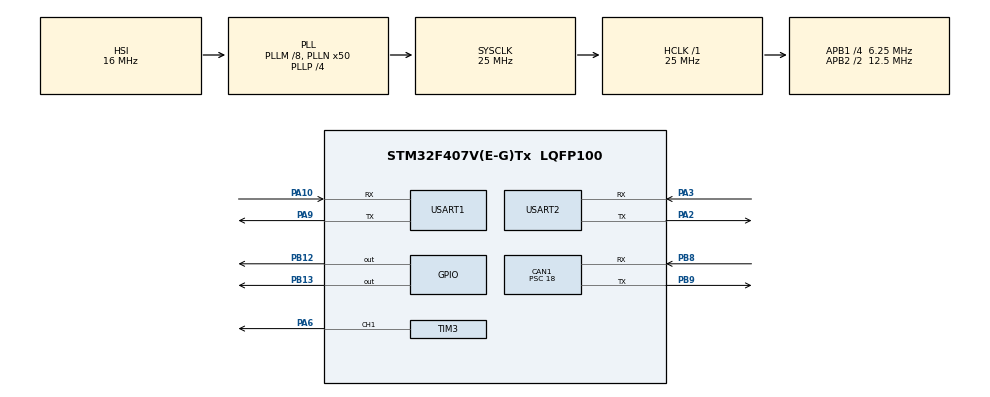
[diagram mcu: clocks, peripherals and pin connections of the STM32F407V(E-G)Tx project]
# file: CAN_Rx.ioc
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CAN1.ABOM=ENABLE
CAN1.BS1=CAN_BS1_13TQ
CAN1.BS2=CAN_BS2_2TQ
CAN1.CalculateBaudRate=21701
CAN1.CalculateTimeBit=46080
CAN1.CalculateTimeQuantum=2880.0
CAN1.NART=ENABLE
CAN1.Prescaler=18
Mcu.Family=STM32F4
Mcu.Name=STM32F407V(E-G)Tx
Mcu.Package=LQFP100
NVIC.CAN1_RX0_IRQn=true\:0\:0\:false\:false\:true\:true\:true\:true
NVIC.PriorityGroup=NVIC_PRIORITYGROUP_0
PA10.Mode=Asynchronous
PA10.Signal=USART1_RX
PA2.Mode=Asynchronous
PA2.Signal=USART2_TX
PA3.Mode=Asynchronous
PA3.Signal=USART2_RX
PA6.Signal=S_TIM3_CH1
PA9.Mode=Asynchronous
PA9.Signal=USART1_TX
PB12.Signal=GPIO_Output
PB13.Signal=GPIO_Output
PB8.Mode=CAN_Activate
PB8.Signal=CAN1_RX
PB9.Mode=CAN_Activate
PB9.Signal=CAN1_TX
ProjectManager.HeapSize=0x200
ProjectManager.StackSize=0x400
ProjectManager.TargetToolchain=STM32CubeIDE
RCC.48MHZClocksFreq_Value=14285714.285714285
RCC.AHBFreq_Value=25000000
RCC.APB1CLKDivider=RCC_HCLK_DIV4
RCC.APB1Freq_Value=6250000
RCC.APB1TimFreq_Value=12500000
RCC.APB2CLKDivider=RCC_HCLK_DIV2
RCC.APB2Freq_Value=12500000
RCC.APB2TimFreq_Value=25000000
RCC.CortexFreq_Value=25000000
RCC.HCLKFreq_Value=25000000
RCC.HSE_VALUE=8000000
RCC.HSI_VALUE=16000000
RCC.LSE_VALUE=32768
RCC.PLLM=8
RCC.PLLN=50
RCC.PLLP=RCC_PLLP_DIV4
RCC.PLLQ=7
RCC.SYSCLKFreq_VALUE=25000000
RCC.SYSCLKSource=RCC_SYSCLKSOURCE_PLLCLK
RCC.VCOOutputFreq_Value=100000000
SH.S_TIM3_CH1.0=TIM3_CH1,PWM Generation1 CH1
TIM3.Channel-PWM\ Generation1\ CH1=TIM_CHANNEL_1
TIM3.Period=999
TIM3.Prescaler=83
USART1.VirtualMode=VM_ASYNC
USART2.VirtualMode=VM_ASYNC
board=STM32F407G-DISC1

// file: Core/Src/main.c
/* USER CODE BEGIN Header */
/**
  ******************************************************************************
  * @file           : main.c
  * @brief          : Main program body
  ******************************************************************************
  * @attention
  *
  * Copyright (c) 2026 STMicroelectronics.
  * All rights reserved.
  *
  * This software is licensed under terms that can be found in the LICENSE file
  * in the root directory of this software component.
  * If no LICENSE file comes with this software, it is provided AS-IS.
  *
  ******************************************************************************
  */
/* USER CODE END Header */
#include "main.h"

/* USER CODE BEGIN Includes */
#include <stdio.h>
#include <string.h>
/* USER CODE END Includes */

/* USER CODE BEGIN PD */
#define MOTOR_THRESHOLD_CM   10
#define MOTOR_SPEED          700
/* USER CODE END PD */

CAN_HandleTypeDef hcan1;

TIM_HandleTypeDef htim3;

UART_HandleTypeDef huart1;
UART_HandleTypeDef huart2;

/* USER CODE BEGIN PV */
CAN_RxHeaderTypeDef RxHeader;
uint8_t RxData[8];

uint16_t ultrasonic;
uint16_t speed;
uint8_t  water_level;

char uartBuf[64];

/* USER CODE END PV */

void SystemClock_Config(void);
static void MX_GPIO_Init(void);
static void MX_CAN1_Init(void);
static void MX_USART2_UART_Init(void);
static void MX_TIM3_Init(void);
static void MX_USART1_UART_Init(void);
/* USER CODE BEGIN PFP */
void HAL_CAN_RxFifo0MsgPendingCallback(CAN_HandleTypeDef *hcan1);
void CAN_Filter_Config(void);
/* USER CODE END PFP */

/* USER CODE BEGIN 0 */
void CAN_Filter_Config(void)
{
    CAN_FilterTypeDef filter;

    filter.FilterBank = 0;
    filter.FilterMode = CAN_FILTERMODE_IDMASK;
    filter.FilterScale = CAN_FILTERSCALE_32BIT;

    filter.FilterIdHigh = (0x123 << 5);
    filter.FilterIdLow  = 0x0000;

    filter.FilterMaskIdHigh = (0x7FF << 5); // match full STD ID
    filter.FilterMaskIdLow  = 0x0000;

    filter.FilterFIFOAssignment = CAN_RX_FIFO0;
    filter.FilterActivation = ENABLE;
    filter.SlaveStartFilterBank = 14;

    HAL_CAN_ConfigFilter(&hcan1, &filter);
}

void HAL_CAN_RxFifo0MsgPendingCallback(CAN_HandleTypeDef *hcan1)
{
    HAL_CAN_GetRxMessage(hcan1, CAN_RX_FIFO0, &RxHeader, RxData);

    ultrasonic = (RxData[0] << 8) | RxData[1];
    speed = (RxData[2] << 8) | RxData[3];
    water_level = RxData[4];

}

//***************MOTOR Driver*****************
void Motor_Init(void)
{
    HAL_TIM_PWM_Start(&htim3, TIM_CHANNEL_1);
}

void Motor_Forward(uint16_t speed_val)
{
    if (speed_val > 999) speed_val = 999;

    HAL_GPIO_WritePin(GPIOB, GPIO_PIN_12, GPIO_PIN_SET);   // IN1
    HAL_GPIO_WritePin(GPIOB, GPIO_PIN_13, GPIO_PIN_RESET); // IN2

    __HAL_TIM_SET_COMPARE(&htim3, TIM_CHANNEL_1, speed_val);
}

void Motor_Stop(void)
{
    HAL_GPIO_WritePin(GPIOB, GPIO_PIN_12, GPIO_PIN_RESET);
    HAL_GPIO_WritePin(GPIOB, GPIO_PIN_13, GPIO_PIN_RESET);

    __HAL_TIM_SET_COMPARE(&htim3, TIM_CHANNEL_1, 0);
}

/* USER CODE END 0 */

int main(void)
{

  /* MCU Configuration--------------------------------------------------------*/

  /* Reset of all peripherals, Initializes the Flash interface and the Systick. */
  HAL_Init();

  /* Configure the system clock */
  SystemClock_Config();

  /* Initialize all configured peripherals */
  MX_GPIO_Init();
  MX_CAN1_Init();
  MX_USART2_UART_Init();
  MX_TIM3_Init();
  MX_USART1_UART_Init();
  /* USER CODE BEGIN 2 */
  CAN_Filter_Config();

  HAL_CAN_Start(&hcan1);

  /* Enable RX interrupt */
  HAL_CAN_ActivateNotification(&hcan1, CAN_IT_RX_FIFO0_MSG_PENDING);

  Motor_Init();
  Motor_Forward(MOTOR_SPEED);
  /* USER CODE END 2 */

  /* Infinite loop */
  while (1)
  {

    /* USER CODE BEGIN 3 */
	  if (ultrasonic > 0 && ultrasonic < MOTOR_THRESHOLD_CM)
	  {
	     Motor_Stop();
      }
	  else
	  {
	     Motor_Forward(MOTOR_SPEED);
	  }

	  sprintf(uartBuf,  "Ultrasonic:%d cm | Speed:%d km/h | FUEL Level:%d %%\r\n", ultrasonic, speed, water_level);
	     	  HAL_UART_Transmit(&huart2,(uint8_t*)uartBuf,strlen(uartBuf),HAL_MAX_DELAY);
         //*********sending to ESP32*********
	     	  HAL_UART_Transmit(&huart1,(uint8_t*)uartBuf,strlen(uartBuf),HAL_MAX_DELAY);

	     	  HAL_Delay(500);
  }
  /* USER CODE END 3 */
}

void SystemClock_Config(void)
{
  RCC_OscInitTypeDef RCC_OscInitStruct = {0};
  RCC_ClkInitTypeDef RCC_ClkInitStruct = {0};

  /** Configure the main internal regulator output voltage
  */
  __HAL_RCC_PWR_CLK_ENABLE();
  __HAL_PWR_VOLTAGESCALING_CONFIG(PWR_REGULATOR_VOLTAGE_SCALE1);

  /** Initializes the RCC Oscillators according to the specified parameters
  * in the RCC_OscInitTypeDef structure.
  */
  RCC_OscInitStruct.OscillatorType = RCC_OSCILLATORTYPE_HSI;
  RCC_OscInitStruct.HSIState = RCC_HSI_ON;
  RCC_OscInitStruct.HSICalibrationValue = RCC_HSICALIBRATION_DEFAULT;
  RCC_OscInitStruct.PLL.PLLState = RCC_PLL_ON;
  RCC_OscInitStruct.PLL.PLLSource = RCC_PLLSOURCE_HSI;
  RCC_OscInitStruct.PLL.PLLM = 8;
  RCC_OscInitStruct.PLL.PLLN = 50;
  RCC_OscInitStruct.PLL.PLLP = RCC_PLLP_DIV4;
  RCC_OscInitStruct.PLL.PLLQ = 7;
  if (HAL_RCC_OscConfig(&RCC_OscInitStruct) != HAL_OK)
  {
    Error_Handler();
  }

  /** Initializes the CPU, AHB and APB buses clocks
  */
  RCC_ClkInitStruct.ClockType = RCC_CLOCKTYPE_HCLK|RCC_CLOCKTYPE_SYSCLK
                              |RCC_CLOCKTYPE_PCLK1|RCC_CLOCKTYPE_PCLK2;
  RCC_ClkInitStruct.SYSCLKSource = RCC_SYSCLKSOURCE_PLLCLK;
  RCC_ClkInitStruct.AHBCLKDivider = RCC_SYSCLK_DIV1;
  RCC_ClkInitStruct.APB1CLKDivider = RCC_HCLK_DIV4;
  RCC_ClkInitStruct.APB2CLKDivider = RCC_HCLK_DIV2;

  if (HAL_RCC_ClockConfig(&RCC_ClkInitStruct, FLASH_LATENCY_0) != HAL_OK)
  {
    Error_Handler();
  }
}

static void MX_CAN1_Init(void)
{

  hcan1.Instance = CAN1;
  hcan1.Init.Prescaler = 18;
  hcan1.Init.Mode = CAN_MODE_NORMAL;
  hcan1.Init.SyncJumpWidth = CAN_SJW_1TQ;
  hcan1.Init.TimeSeg1 = CAN_BS1_13TQ;
  hcan1.Init.TimeSeg2 = CAN_BS2_2TQ;
  hcan1.Init.TimeTriggeredMode = DISABLE;
  hcan1.Init.AutoBusOff = ENABLE;
  hcan1.Init.AutoWakeUp = DISABLE;
  hcan1.Init.AutoRetransmission = ENABLE;
  hcan1.Init.ReceiveFifoLocked = DISABLE;
  hcan1.Init.TransmitFifoPriority = DISABLE;
  if (HAL_CAN_Init(&hcan1) != HAL_OK)
  {
    Error_Handler();
  }

}

static void MX_TIM3_Init(void)
{

  TIM_MasterConfigTypeDef sMasterConfig = {0};
  TIM_OC_InitTypeDef sConfigOC = {0};

  htim3.Instance = TIM3;
  htim3.Init.Prescaler = 83;
  htim3.Init.CounterMode = TIM_COUNTERMODE_UP;
  htim3.Init.Period = 999;
  htim3.Init.ClockDivision = TIM_CLOCKDIVISION_DIV1;
  htim3.Init.AutoReloadPreload = TIM_AUTORELOAD_PRELOAD_DISABLE;
  if (HAL_TIM_PWM_Init(&htim3) != HAL_OK)
  {
    Error_Handler();
  }
  sMasterConfig.MasterOutputTrigger = TIM_TRGO_RESET;
  sMasterConfig.MasterSlaveMode = TIM_MASTERSLAVEMODE_DISABLE;
  if (HAL_TIMEx_MasterConfigSynchronization(&htim3, &sMasterConfig) != HAL_OK)
  {
    Error_Handler();
  }
  sConfigOC.OCMode = TIM_OCMODE_PWM1;
  sConfigOC.Pulse = 0;
  sConfigOC.OCPolarity = TIM_OCPOLARITY_HIGH;
  sConfigOC.OCFastMode = TIM_OCFAST_DISABLE;
  if (HAL_TIM_PWM_ConfigChannel(&htim3, &sConfigOC, TIM_CHANNEL_1) != HAL_OK)
  {
    Error_Handler();
  }
  HAL_TIM_MspPostInit(&htim3);

}

static void MX_USART1_UART_Init(void)
{

  huart1.Instance = USART1;
  huart1.Init.BaudRate = 115200;
  huart1.Init.WordLength = UART_WORDLENGTH_8B;
  huart1.Init.StopBits = UART_STOPBITS_1;
  huart1.Init.Parity = UART_PARITY_NONE;
  huart1.Init.Mode = UART_MODE_TX_RX;
  huart1.Init.HwFlowCtl = UART_HWCONTROL_NONE;
  huart1.Init.OverSampling = UART_OVERSAMPLING_16;
  if (HAL_UART_Init(&huart1) != HAL_OK)
  {
    Error_Handler();
  }

}

static void MX_USART2_UART_Init(void)
{

  huart2.Instance = USART2;
  huart2.Init.BaudRate = 115200;
  huart2.Init.WordLength = UART_WORDLENGTH_8B;
  huart2.Init.StopBits = UART_STOPBITS_1;
  huart2.Init.Parity = UART_PARITY_NONE;
  huart2.Init.Mode = UART_MODE_TX_RX;
  huart2.Init.HwFlowCtl = UART_HWCONTROL_NONE;
  huart2.Init.OverSampling = UART_OVERSAMPLING_16;
  if (HAL_UART_Init(&huart2) != HAL_OK)
  {
    Error_Handler();
  }

}

static void MX_GPIO_Init(void)
{
  GPIO_InitTypeDef GPIO_InitStruct = {0};

  /* GPIO Ports Clock Enable */
  __HAL_RCC_GPIOA_CLK_ENABLE();
  __HAL_RCC_GPIOB_CLK_ENABLE();

  /*Configure GPIO pin Output Level */
  HAL_GPIO_WritePin(GPIOB, GPIO_PIN_12|GPIO_PIN_13, GPIO_PIN_RESET);

  /*Configure GPIO pins : PB12 PB13 */
  GPIO_InitStruct.Pin = GPIO_PIN_12|GPIO_PIN_13;
  GPIO_InitStruct.Mode = GPIO_MODE_OUTPUT_PP;
  GPIO_InitStruct.Pull = GPIO_NOPULL;
  GPIO_InitStruct.Speed = GPIO_SPEED_FREQ_LOW;
  HAL_GPIO_Init(GPIOB, &GPIO_InitStruct);

}

void Error_Handler(void)
{
  __disable_irq();
  while (1)
  {
  }
}
